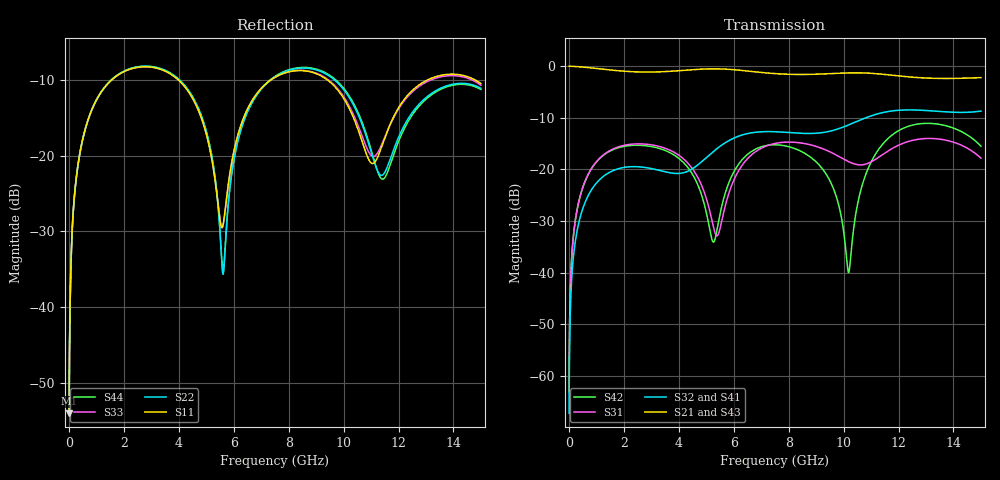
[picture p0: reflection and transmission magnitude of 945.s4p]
! Created with skrf 1.8.0 (http://scikit-rf.org).
# GHz S RI R 50.0
!freq ReS11 ImS11 ReS12 ImS12 ReS13 ImS13
! ReS14 ImS14
! ReS21 ImS21 ReS22 ImS22 ReS23 ImS23
! ReS24 ImS24
! ReS31 ImS31 ReS32 ImS32 ReS33 ImS33
! ReS34 ImS34
! ReS41 ImS41 ReS42 ImS42 ReS43 ImS43
! ReS44 ImS44
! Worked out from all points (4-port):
!   2499 points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, 5 MHz to 15 GHz, reference 50 ohm
!   strongest paths, dB at 5 MHz, 3.476 GHz, 7.19 GHz, 11.1 GHz, 15 GHz:
!     S21: 0.0, -1.1, -1.3, -1.4, -2.2
!     S43: 0.0, -1.1, -1.3, -1.4, -2.2
!     S32: -67.3, -20.4, -12.7, -9.5, -8.7
!     S41: -67.3, -20.5, -12.7, -9.5, -8.7
!     S31: -63.1, -15.9, -15.5, -18.3, -17.8
!     S42: -63.1, -16.3, -15.4, -17.6, -15.5
!   lowest |S11| = -54.0 dB at 5 MHz (marker M1), VSWR 1.00, Z = 50.2 + j0.121 ohm
!   |S11| at or under -10 dB: start of sweep to 1.564 GHz; 3.973 GHz to 7.367 GHz (3.394 GHz wide, 59.9 % of centre); 9.397 GHz to 13.08 GHz (3.682 GHz wide, 32.8 % of centre) (the widest 3 of 4)
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0.005  0.0016 0.00121  0.9984 -0.00312  8.25e-05 0.000695  -7.97e-05 -0.000426
       0.9984 -0.00312  0.0016 0.00121  -7.97e-05 -0.000426  8.23e-05 0.000695
       8.25e-05 0.000695  -7.97e-05 -0.000426  0.0016 0.00121  0.9984 -0.00312
       -7.97e-05 -0.000426  8.23e-05 0.000695  0.9984 -0.00312  0.0016 0.00121
0.3126303  0.0231 0.0796  0.9683 -0.1941  0.0117 0.0412  -0.00942 -0.0251
           0.9683 -0.1941  0.0232 0.0796  -0.00943 -0.0251  0.0111 0.0414
           0.0117 0.0412  -0.00943 -0.0251  0.0231 0.0796  0.9683 -0.1941
           -0.00942 -0.0251  0.0111 0.0414  0.9683 -0.1941  0.0232 0.0796
1.569404  0.2626 0.1772  0.5581 -0.7229  0.142 0.0646  -0.0959 -0.00747
          0.5581 -0.7229  0.2653 0.1755  -0.096 -0.00733  0.134 0.0751
          0.142 0.0646  -0.096 -0.00733  0.2626 0.1773  0.5581 -0.7229
          -0.0959 -0.00747  0.134 0.0751  0.5581 -0.7229  0.2654 0.1755
5.608587  0.0339 0.00786  -0.9351 -0.0664  -0.0129 0.0334  -0.0087 0.1748
          -0.9351 -0.0664  0.0165 -0.00107  -0.00623 0.175  0.0265 0.0414
          -0.0129 0.0334  -0.00623 0.175  0.0338 0.00736  -0.9351 -0.0662
          -0.0087 0.1748  0.0265 0.0414  -0.9351 -0.0662  0.0169 -0.00141
8.7599  0.3549 -0.0408  0.0253 0.8306  0.1151 -0.1301  0.2123 -0.0601
        0.0253 0.8306  0.3721 -0.0431  0.2126 -0.0659  0.1216 -0.0549
        0.1151 -0.1301  0.2126 -0.0659  0.3574 -0.0372  0.0261 0.8293
        0.2123 -0.0601  0.1216 -0.0549  0.0261 0.8293  0.3757 -0.0476
10.18549  0.1657 -0.1257  0.6159 0.5994  -0.0793 -0.0883  0.1854 -0.195
          0.6159 0.5994  0.1808 -0.1644  0.1793 -0.2012  0.00928 0.00375
          -0.0793 -0.0883  0.1793 -0.2012  0.1748 -0.1255  0.6147 0.5985
          0.1854 -0.195  0.00928 0.00375  0.6147 0.5985  0.181 -0.1727
15  0.2731 -0.1185  -0.1771 -0.7527  0.06 -0.1136  -0.3449 0.122
    -0.1771 -0.7527  0.2667 -0.0759  -0.3406 0.136  0.082 -0.146
    0.06 -0.1136  -0.3406 0.136  0.2636 -0.1219  -0.1827 -0.7533
    -0.3449 0.122  0.082 -0.146  -0.1827 -0.7533  0.2625 -0.0737
